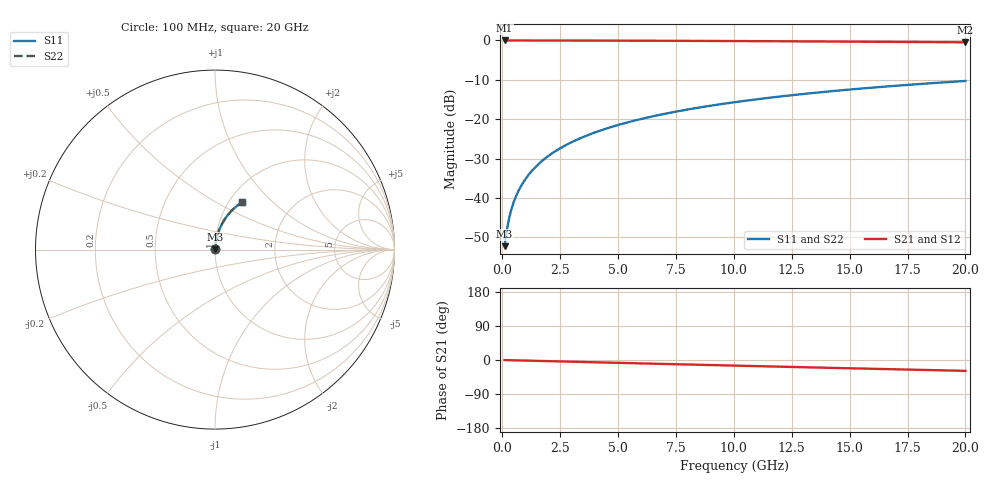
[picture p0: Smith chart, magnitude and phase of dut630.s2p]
! Touchstone file exported from HFSS 2026.1.0
!  File:  C:/ffzhzh/LocalFiles/Ansys_Project_Files/temp_train_BSMRDL_630_1783016577_4048.aedt
!  Generated:  02:24:17 AM Jul  3, 2026
!  Design:  BSMRDL
!  Project:  temp_train_BSMRDL_630_1783016577_4048
! Variables:
!  h_bsmrdl = 4.04um
!  h_ox = 20um
!  h_rdl = 5um
!  h_sub = 80um
!  h_tmrdl = 5um
!  h_tsv = 80um
!  h_via = 3um
!  l_bsmrdl = 362.64um
!  l_sub = 762.64um
!  l_tmrdl = 200um
!  m_sub = 200um
!  pitch = 57.1um
!  r_tsv = 6um
!  s_tmrdl = 10um
!  w_bsmrdl = 22.14um
!  w_sub = 500um
!  w_tmrdl = 12um
!  x_tsv_center1 = 206um
!  x_tsv_center2 = 590.78um
!  x_tsv_center3 = 802.78um
!  x_tsv_center4 = 1187.56um
!  x_tsv_center5 = 1399.56um
!  x_tsv_center6 = 1784.34um
# GHz S MA R 50.000000
! Terminal data exported
! Port[1] = BSM_RDL1_1_T1
! Port[2] = BSM_RDL1_1_T2
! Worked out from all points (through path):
!   200 points, 100 MHz to 20 GHz, reference 50 ohm
!   highest |S21| = -0.01 dB at 100 MHz (marker M1); lowest = -0.5 dB at 20 GHz (marker M2)
!   group delay of S21, straight-line fit = 3.98 ps
!   lowest |S11| = -52.2 dB at 100 MHz (marker M3), VSWR 1.00, Z = 50.2 + j0.183 ohm
!   |S11| at or under -10 dB: start of sweep to end of sweep
!   |S22| runs from -52.2 to -10.3 dB; largest |S21 - S12| = 4.3e-15
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0.1  0.002441 48.3  0.9984 -0.2  0.9984 -0.2  0.002441 48.3
! Gamma 0 0 0 0
! Port Impedance 50 0 50 0
0.2  0.003987 64.5  0.9983 -0.3  0.9983 -0.3  0.003987 64.5
0.3  0.005632 71.2  0.9982 -0.5  0.9982 -0.5  0.005632 71.2
0.4  0.007291 74.8  0.9981 -0.6  0.9981 -0.6  0.007292 74.8
0.5  0.008956 77.0  0.9981 -0.8  0.9981 -0.8  0.008957 77.0
0.7  0.0123 79.8  0.998 -1.1  0.998 -1.1  0.0123 79.8
0.8  0.01398 80.6  0.9979 -1.2  0.9979 -1.2  0.01398 80.6
1  0.01735 81.7  0.9978 -1.5  0.9978 -1.5  0.01735 81.7
1.2  0.02073 82.4  0.9977 -1.8  0.9977 -1.8  0.02073 82.4
1.4  0.02412 82.8  0.9976 -2.1  0.9976 -2.1  0.02412 82.8
1.7  0.0292 83.1  0.9974 -2.6  0.9974 -2.6  0.0292 83.1
2  0.03428 83.2  0.9972 -3.0  0.9972 -3.0  0.03428 83.2
2.7  0.04609 82.8  0.9965 -4.1  0.9965 -4.1  0.04609 82.8
3.5  0.05949 82.0  0.9955 -5.3  0.9955 -5.3  0.05949 82.0
4.2  0.07113 81.2  0.9944 -6.3  0.9944 -6.3  0.07113 81.2
5  0.08431 80.2  0.9931 -7.5  0.9931 -7.5  0.08431 80.2
6.8  0.1135 77.8  0.9895 -10.2  0.9895 -10.2  0.1135 77.8
8.3  0.1373 75.7  0.986 -12.4  0.986 -12.4  0.1373 75.7
10.1  0.1653 73.3  0.9812 -15.0  0.9812 -15.0  0.1653 73.3
13.4  0.2147 68.8  0.9708 -19.6  0.9708 -19.6  0.2147 68.8
16.7  0.2615 64.4  0.9588 -24.2  0.9588 -24.2  0.2615 64.4
20  0.3054 60.1  0.9454 -28.7  0.9454 -28.7  0.3054 60.0
